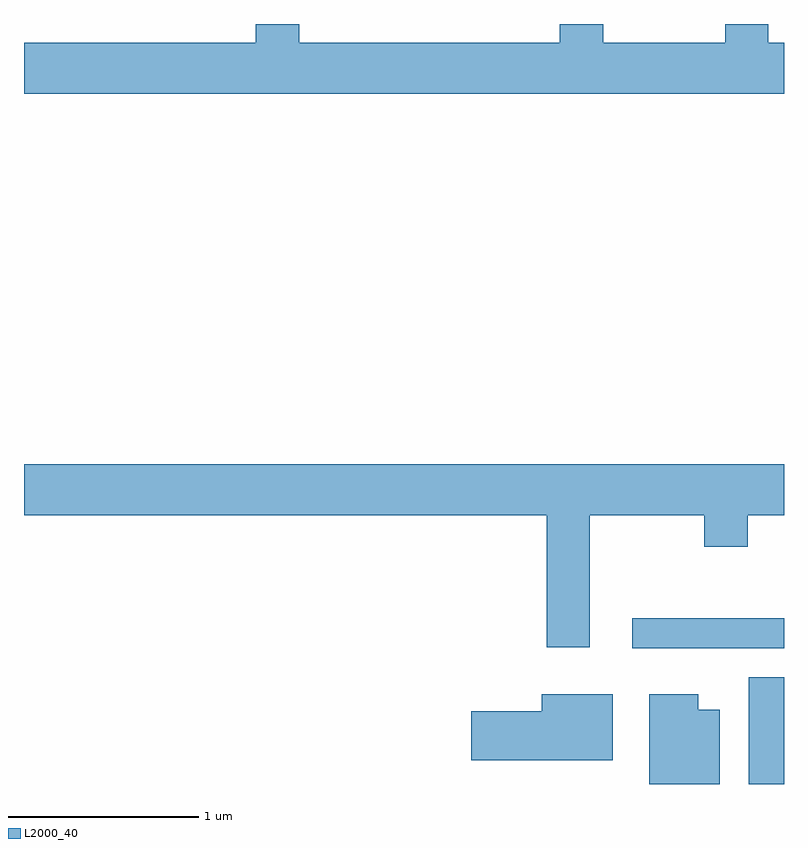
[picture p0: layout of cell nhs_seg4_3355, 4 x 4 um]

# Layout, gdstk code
import gdstk
lib = gdstk.Library(unit=1e-6, precision=1e-09)
def R(c, l, rs):  # rectangles x0, y0, x1, y1
    for r in rs: c.add(gdstk.rectangle(r[:2], r[2:], *l))
def P(c, l, *ps):  # polygons
    for p in ps: c.add(gdstk.Polygon(p, *l))
L2000_40 = (2000, 40)

nhs_seg4_3355 = lib.new_cell('nhs_seg4_3355')
R(nhs_seg4_3355, L2000_40, [(287.426,1299.982,287.611,1300.544), (286.813,1300.696,287.611,1300.854)])
P(nhs_seg4_3355, L2000_40, [(287.611,1303.884),(287.529,1303.884),(287.529,1303.982),(287.301,1303.982),(287.301,1303.884),(286.659,1303.884),(286.659,1303.982),(286.431,1303.982),(286.431,1303.884),(285.059,1303.884),(285.059,1303.982),(284.831,1303.982),(284.831,1303.884),(283.611,1303.884),(283.611,1303.616),(287.611,1303.616)],
  [(286.589,1301.396),(287.191,1301.396),(287.191,1301.231),(287.419,1301.231),(287.419,1301.396),(287.611,1301.396),(287.611,1301.664),(283.611,1301.664),(283.611,1301.396),(286.361,1301.396),(286.361,1300.701),(286.589,1300.701)],
  [(286.709,1300.454),(286.336,1300.454),(286.336,1300.364),(285.966,1300.364),(285.966,1300.106),(286.709,1300.106)],
  [(287.274,1300.374),(287.159,1300.374),(287.159,1300.454),(286.901,1300.454),(286.901,1299.982),(287.274,1299.982)])

lib.write_gds('nhs_seg4_3355.gds')
